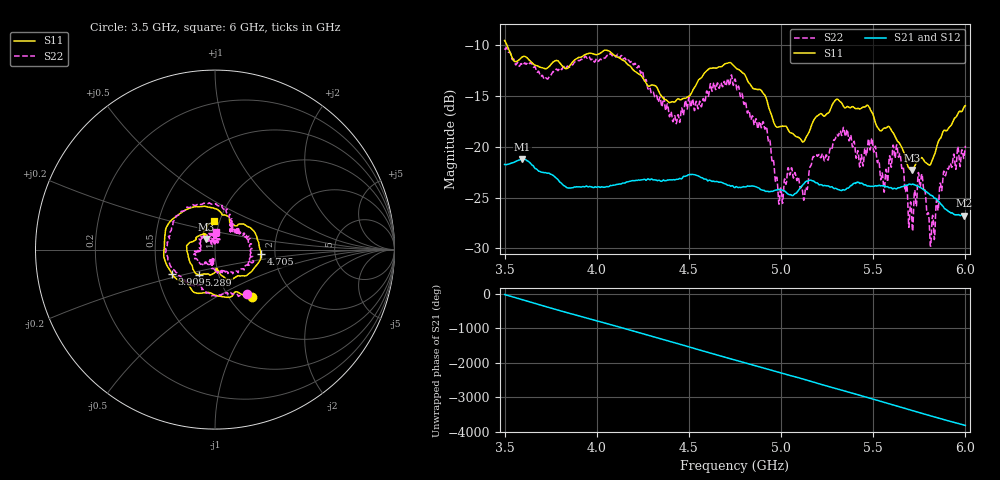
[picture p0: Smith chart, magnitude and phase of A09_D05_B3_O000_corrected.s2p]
! Created with skrf 1.9.0 (http://scikit-rf.org).
# Hz S RI R 50.0
!freq ReS11 ImS11 ReS21 ImS21 ReS12 ImS12 ReS22 ImS22
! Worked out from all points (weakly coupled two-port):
!   1601 points, 3.5 GHz to 6 GHz, reference 50 ohm
!   highest |S21| = -21.22 dB at 3.595 GHz (marker M1); lowest = -26.8 dB at 5.991 GHz (marker M2)
!   lowest |S11| = -22.3 dB at 5.711 GHz (marker M3), VSWR 1.17, Z = 45.1 + j5.4 ohm
!   |S11| at or under -10 dB: 3.512 GHz to end of sweep
!   |S22| runs from -29.8 to -10.3 dB; largest |S21 - S12| = 0.00095
!   S11 on the Smith chart (normalised r, x): 3.5 GHz: 1.27, -0.75; 3.909 GHz: 0.59, -0.17; 4.705 GHz: 1.68, -0.09; 5.289 GHz: 0.80, -0.23; 6 GHz: 0.94, +0.30
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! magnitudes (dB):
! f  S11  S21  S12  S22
! 3.5 GHz  -9.6  -21.8  -21.7  -10.4
! 3.595 GHz  -11.2  -21.2  -21.2  -12.0
! 3.909 GHz  -11.2  -24.0  -23.9  -11.5
! 3.917 GHz  -11.2  -24.0  -24.0  -11.4
! 4.334 GHz  -14.5  -23.3  -23.3  -15.6
! 4.441 GHz  -15.3  -23.2  -23.2  -16.9
! 4.705 GHz  -11.8  -23.7  -23.7  -13.8
! 4.75 GHz  -12.2  -24.0  -24.0  -13.4
! 4.912 GHz  -15.0  -24.4  -24.3  -18.3
! 4.997 GHz  -18.0  -24.2  -24.2  -24.1
! 5.048 GHz  -18.6  -24.7  -24.7  -22.7
! 5.131 GHz  -19.3  -23.5  -23.5  -24.2
! 5.167 GHz  -17.8  -23.4  -23.3  -21.5
! 5.289 GHz  -15.6  -24.1  -24.1  -19.4
! 5.584 GHz  -18.0  -24.0  -24.0  -21.7
! 5.636 GHz  -19.5  -24.0  -24.0  -21.0
! 5.711 GHz  -22.3  -23.7  -23.7  -27.8
! 5.756 GHz  -21.1  -24.0  -24.0  -23.8
! 5.82 GHz  -21.3  -24.8  -24.8  -26.9
! 5.891 GHz  -18.4  -26.1  -26.1  -22.8
! 5.991 GHz  -16.2  -26.8  -26.7  -21.2
! 6 GHz  -16.0  -26.8  -26.7  -19.9
